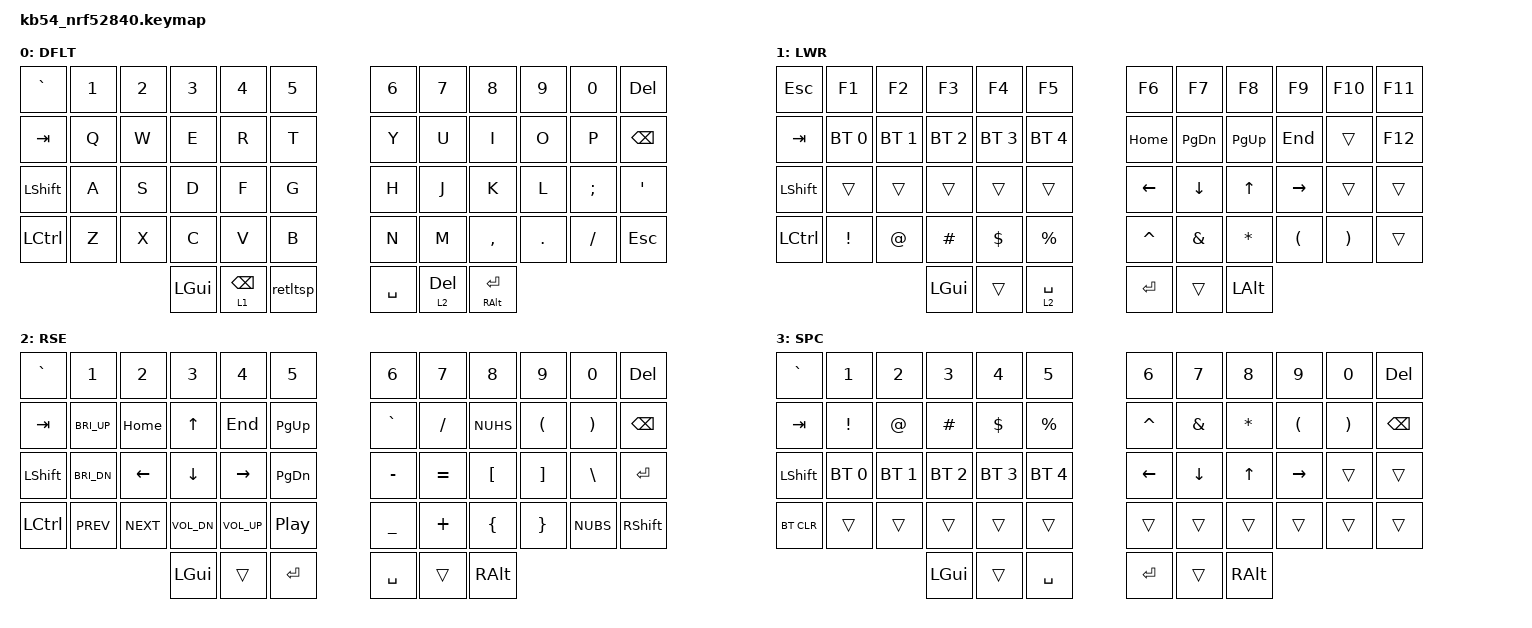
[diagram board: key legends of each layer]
/*
 * Copyright (c) 2020 The ZMK Contributors
 *
 * SPDX-License-Identifier: MIT
 */

#include <behaviors.dtsi>
#include <dt-bindings/zmk/keys.h>
#include <dt-bindings/zmk/bt.h>
#include <behaviors.dtsi>

/ {
        behaviors {
                dlt: delete_layer_toggle {
                        compatible = "zmk,behavior-hold-tap";
                        #binding-cells = <2>;
                        flavor = "tap-preferred";
                        tapping-term-ms = <150>;
                        quick-tap-ms = <300>;
                        hold-while-undecided;
                        bindings = <&mo>, <&kp>;
                };

                retltsp: return_layer_toggle_space {
                        compatible = "zmk,behavior-mod-morph";
                        #binding-cells = <0>;
                        bindings = <&dlt 2 RET>, <&kp SPACE>;
                        mods = <(MOD_LGUI|MOD_RGUI)>;
                        keep-mods = <(MOD_LGUI|MOD_RGUI)>;
                };
        };

        conditional_layers {
                compatible = "zmk,conditional-layers";
                tri_layer {
                        if-layers = <1 2>;
                        then-layer = <3>;
                };
        };

        keymap {
                compatible = "zmk,keymap";

                default_layer {
                    display-name = "DFLT";
                    label = "DFLT";
// -----------------------------------------------------------------------------------------
// |   `  |  1  |  2  |  3  |  4  |  5  |   |  6  |  7   |  8  |  9  |  0  |  DEL |
// |  TAB |  Q  |  W  |  E  |  R  |  T  |   |  Y  |  U   |  I  |  O  |  P  | BSPC |
// | CTRL |  A  |  S  |  D  |  F  |  G  |   |  H  |  J   |  K  |  L  |  ;  |  '   |
// | SHFT |  Z  |  X  |  C  |  V  |  B  |   |  N  |  M   |  ,  |  .  |  /  | ESC  |
//                    | GUI | LWR | RET |   | SPC | RSE  | ALT |
                        bindings = <
   &kp GRAVE    &kp N1    &kp N2    &kp N3      &kp N4         &kp N5          &kp N6       &kp N7        &kp N8          &kp N9     &kp N0      &kp DEL
   &kp TAB      &kp Q     &kp W     &kp E       &kp R          &kp T           &kp Y        &kp U         &kp I           &kp O      &kp P       &kp BSPC
   &kp LSHFT    &kp A     &kp S     &kp D       &kp F          &kp G           &kp H        &kp J         &kp K           &kp L      &kp SEMI    &kp SQT
   &kp LCTRL    &kp Z     &kp X     &kp C       &kp V          &kp B           &kp N        &kp M         &kp COMMA       &kp DOT    &kp FSLH    &kp ESC
                                    &kp LGUI    &dlt 1 BSPC    &retltsp        &kp SPACE    &dlt 2 DEL    &mt RALT RET
                        >;
                };

                lower_layer {
                    display-name = "LWR";
                    label = "LWR";
// -----------------------------------------------------------------------------------------
// |  ESC | F1  | F2  | F3  | F4  | F5  |   | F6  | F7  | F8  | F9  | F10 |  F11 |
// |  TAB | BT1 | BT2 | BT3 | BT4 | BT5 |   | HOME|PG_DN|PG_UP| END |     |  F12 |
// | CTRL |     |     |     |     |     |   | LFT | DWN |  UP | RGT |     |      |
// | SHFT |  !  |  @  |  #  |  $  |  %  |   |  ^  |  &  |  *  |  (  |  )  |      |
//                    | GUI |     | RET |   | SPC |     | ALT |
                        bindings = <
   &kp ESC      &kp F1          &kp F2          &kp F3          &kp F4          &kp F5              &kp F6      &kp F7      &kp F8      &kp F9      &kp F10     &kp F11
   &kp TAB      &bt BT_SEL 0    &bt BT_SEL 1    &bt BT_SEL 2    &bt BT_SEL 3    &bt BT_SEL 4        &kp HOME    &kp PG_DN   &kp PG_UP   &kp END     &trans      &kp F12
   &kp LSHFT    &trans          &trans          &trans          &trans          &trans              &kp LEFT    &kp DOWN    &kp UP      &kp RIGHT   &trans      &trans
   &kp LCTRL    &kp EXCL        &kp AT          &kp HASH        &kp DLLR        &kp PRCNT           &kp CARET   &kp AMPS    &kp ASTRK   &kp LPAR    &kp RPAR    &trans
                                                &kp LGUI        &trans          &lt 2 SPACE         &kp RET     &trans      &kp LALT
                        >;
                };

                raise_layer {
                    display-name = "RSE";
                    label = "RSE";
// -----------------------------------------------------------------------------------------
// |   `  |  1  |  2  |  3  |  4  |  5  |   |  6  |  7  |  8  |  9  |  0  |  DEL |
// |  TAB | BR+ | HOME| UP  | END |PG_UP|   |  `  |  /  |  ~  |  (  |  )  | BSPC |
// | CTRL | BR- | LFT | DWN | RGT |PG_DN|   |  -  |  =  |  [  |  ]  |  \  | RET  |
// | SHFT | PRV | NXT |VOL- |VOL+ | P/P |   |  _  |  +  |  {  |  }  | "|"*| SHFT |
//                    | GUI |     | SPC |   | ENT |     | ALT |
                        bindings = <
   &kp GRAVE    &kp N1          &kp N2        &kp N3          &kp N4          &kp N5           &kp N6       &kp N7       &kp N8                      &kp N9      &kp N0      &kp DEL
   &kp TAB      &kp C_BRI_UP    &kp HOME      &kp UP          &kp END         &kp PG_UP        &kp GRAVE    &kp SLASH    &kp NUHS /*Check later*/    &kp LPAR    &kp RPAR    &kp BSPC
   &kp LSHFT    &kp C_BRI_DN    &kp LEFT      &kp DOWN        &kp RIGHT       &kp PG_DN        &kp MINUS    &kp EQUAL    &kp LBKT                    &kp RBKT    &kp BSLH    &kp RET
   &kp LCTRL    &kp C_PREV      &kp C_NEXT    &kp C_VOL_DN    &kp C_VOL_UP    &kp C_PP         &kp UNDER    &kp PLUS     &kp LBRC                    &kp RBRC    &kp NUBS    &kp RSHFT
                                              &kp LGUI        &trans          &kp RET          &kp SPACE      &trans       &kp RALT
                        >;
                };

                special_layer {
                    display-name = "SPC";
                    label = "SPC";
// -----------------------------------------------------------------------------------------
// |   `  |  1  |  2  |  3  |  4  |  5  |   |  6  |  7  |  8  |  9  |  0  |  DEL |
// |  TAB |  !  |  @  |  #  |  $  |  %  |   |  ^  |  &  |  *  |  (  |  )  | BSPC |
// | BTCLR| BT1 | BT2 | BT3 | BT4 | BT5 |   | LFT | DWN |  UP | RGT |     |      |
// | SHFT |     |     |     |     |     |   |     |     |     |     |     |      |
//                    | GUI |     | SPC |   | ENT |     | ALT |
                        bindings = <
   &kp GRAVE    &kp N1          &kp N2          &kp N3          &kp N4          &kp N5                  &kp N6      &kp N7      &kp N8      &kp N9      &kp N0      &kp DEL
   &kp TAB      &kp EXCL        &kp AT          &kp HASH        &kp DLLR        &kp PRCNT               &kp CARET   &kp AMPS    &kp ASTRK   &kp LPAR    &kp RPAR    &kp BSPC
   &kp LSHFT    &bt BT_SEL 0    &bt BT_SEL 1    &bt BT_SEL 2    &bt BT_SEL 3    &bt BT_SEL 4            &kp LEFT    &kp DOWN    &kp UP      &kp RIGHT   &trans      &trans
   &bt BT_CLR   &trans          &trans          &trans          &trans          &trans                  &trans      &trans      &trans      &trans      &trans      &trans
                                                &kp LGUI        &trans          &kp SPACE               &kp RET     &trans      &kp RALT
                        >;
                };
        };
};
